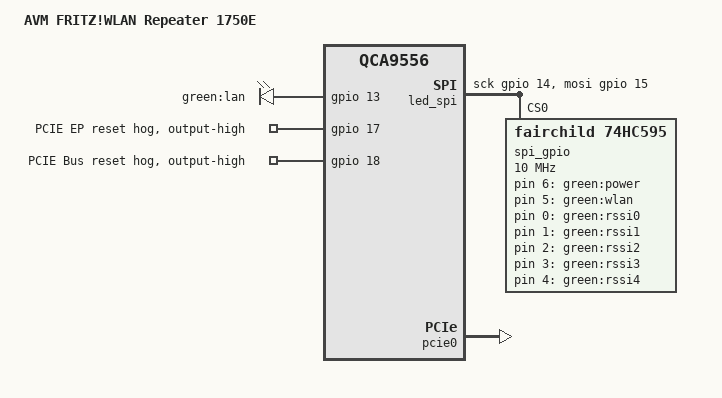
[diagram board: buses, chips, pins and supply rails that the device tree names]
// SPDX-License-Identifier: GPL-2.0-or-later OR MIT

#include "qca9556_avm_fritz-repeater.dtsi"

#include <dt-bindings/gpio/gpio.h>

/ {
	compatible = "avm,fritz1750e", "qca,qca9556";
	model = "AVM FRITZ!WLAN Repeater 1750E";

	aliases {
		led-boot = &led_power;
		led-failsafe = &led_power;
		led-running = &led_power;
		led-upgrade = &led_power;
	};

	led_spi {
		compatible = "spi-gpio";
		#address-cells = <1>;
		#size-cells = <0>;

		sck-gpios = <&gpio 14 GPIO_ACTIVE_HIGH>;
		mosi-gpios = <&gpio 15 GPIO_ACTIVE_HIGH>;
		num-chipselects = <0>;

		spi_gpio: led_gpio@0 {
			compatible = "fairchild,74hc595";
			reg = <0>;
			gpio-controller;
			#gpio-cells = <2>;
			registers-number = <1>;
			spi-max-frequency = <10000000>;

			gpio_latch_bit {
				gpio-hog;
				gpios = <7 GPIO_ACTIVE_HIGH>;
				output-high;
				line-name = "gpio-latch-bit";
			};
		};
	};

	leds {
		compatible = "gpio-leds";

		led_power: power {
			label = "green:power";
			gpios = <&spi_gpio 6 GPIO_ACTIVE_HIGH>;
		};

		wlan {
			label = "green:wlan";
			gpios = <&spi_gpio 5 GPIO_ACTIVE_HIGH>;
			linux,default-trigger = "phy1tpt";
		};

		lan {
			label = "green:lan";
			gpios = <&gpio 13 GPIO_ACTIVE_HIGH>;
		};

		rssi0 {
			label = "green:rssi0";
			gpios = <&spi_gpio 0 GPIO_ACTIVE_HIGH>;
		};

		rssi1 {
			label = "green:rssi1";
			gpios = <&spi_gpio 1 GPIO_ACTIVE_HIGH>;
		};

		rssi2 {
			label = "green:rssi2";
			gpios = <&spi_gpio 2 GPIO_ACTIVE_HIGH>;
		};

		rssi3 {
			label = "green:rssi3";
			gpios = <&spi_gpio 3 GPIO_ACTIVE_HIGH>;
		};

		rssi4 {
			label = "green:rssi4";
			gpios = <&spi_gpio 4 GPIO_ACTIVE_HIGH>;
		};
	};
};

&pcie0 {
	status = "okay";
};

&phy0 {
	reset-gpios = <&gpio 11 GPIO_ACTIVE_LOW>;
};

&gpio {
	reset-pcie-ep {
		gpio-hog;
		gpios = <17 GPIO_ACTIVE_HIGH>;
		output-high;
		line-name = "PCIE EP reset";
	};

	reset-pcie {
		gpio-hog;
		gpios = <18 GPIO_ACTIVE_HIGH>;
		output-high;
		line-name = "PCIE Bus reset";
	};
};
